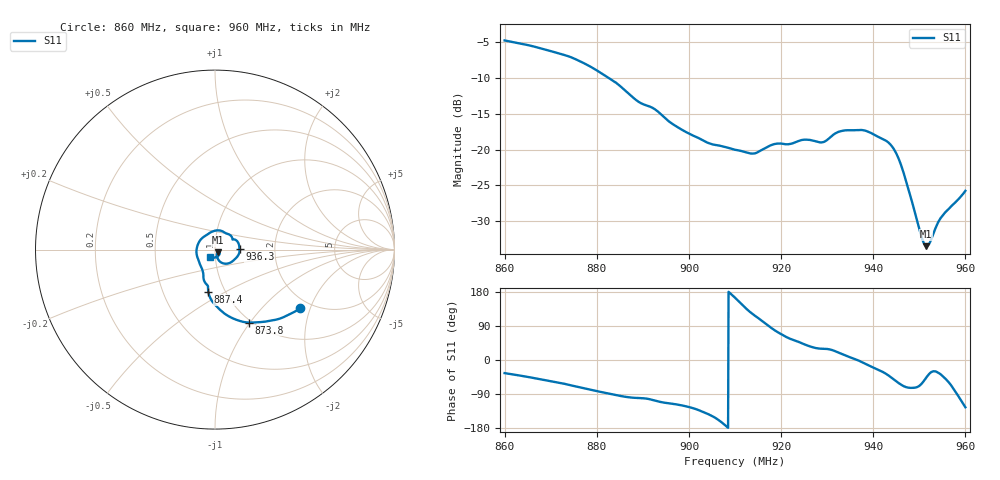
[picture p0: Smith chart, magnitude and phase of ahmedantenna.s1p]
!Keysight Technologies,N5222B,MY58422327,A.13.60.06
!Date: Wednesday, February 23, 2022 12:57:42
!Correction: S11(Full 1 Port(1))
!S1P File: Measurement: S11:
# Hz S  dB  R 50
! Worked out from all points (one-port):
!   1001 points, 860 MHz to 960 MHz, reference 50 ohm
!   lowest |S11| = -33.5 dB at 951.5 MHz (marker M1), VSWR 1.04, Z = 51.5 - j1.58 ohm
!   |S11| at or under -10 dB: 882.6 MHz to end of sweep
!   S11 on the Smith chart (normalised r, x): 860 MHz: 1.74, -1.71; 873.8 MHz: 0.97, -0.99; 887.4 MHz: 0.83, -0.42; 936.3 MHz: 1.32, +0.01; 960 MHz: 0.94, -0.08
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8.6e8  -4.77 -34.6
8.665e8  -5.64 -48.0
8.725e8  -6.72 -61.6
8.738e8  -6.97 -65.1
8.798e8  -8.87 -81.6
8.85e8  -11.10 -94.6
8.874e8  -12.46 -99.0
8.926e8  -14.36 -106.9
8.975e8  -16.85 -117.6
9.042e8  -19.08 -142.9
9.1e8  -20.02 164.5
9.139e8  -20.56 120.6
9.169e8  -19.67 93.4
9.225e8  -19.13 53.5
9.252e8  -18.61 40.6
9.29e8  -18.98 29.7
9.323e8  -17.57 20.5
9.35e8  -17.30 7.0
9.363e8  -17.29 1.1
9.39e8  -17.53 -14.2
9.437e8  -19.27 -44.2
9.455e8  -21.24 -60.7
9.475e8  -25.23 -72.7
9.504e8  -32.07 -63.9
9.515e8  -33.48 -46.5
9.523e8  -32.94 -34.8
9.549e8  -29.31 -40.6
9.6e8  -25.75 -124.8
